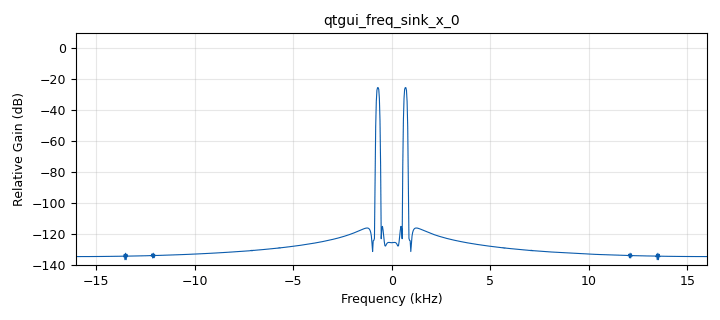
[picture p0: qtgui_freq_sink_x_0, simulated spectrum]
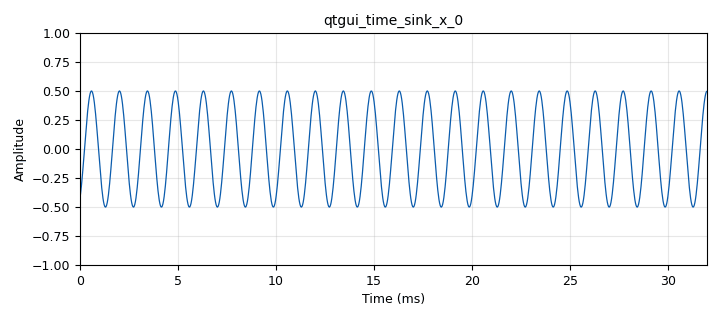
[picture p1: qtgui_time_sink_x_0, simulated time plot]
options:
  parameters:
    generate_options: qt_gui
    id: audio_hp_test
    output_language: python
    title: Not titled yet
  states: {}

blocks:
- name: samp_rate
  id: variable
  parameters:
    value: '32000'
  states: {}
- name: analog_sig_source_x_0
  id: analog_sig_source_x
  parameters:
    amp: '.5'
    freq: '700'
    offset: '0'
    phase: '0'
    samp_rate: samp_rate
    type: float
    waveform: analog.GR_COS_WAVE
  states: {}
- name: audio_sink_0
  id: audio_sink
  parameters:
    samp_rate: samp_rate
  states: {}
- name: qtgui_freq_sink_x_0
  id: qtgui_freq_sink_x
  parameters:
    bw: samp_rate
    ctrlpanel: 'True'
    fc: '0'
    fftsize: '1024'
    type: float
    wintype: window.WIN_FLATTOP
  states: {}
- name: qtgui_time_sink_x_0
  id: qtgui_time_sink_x
  parameters:
    size: '1024'
    srate: samp_rate
    type: float
  states: {}

connections:
- [analog_sig_source_x_0, '0', audio_sink_0, '0']
- [analog_sig_source_x_0, '0', qtgui_freq_sink_x_0, '0']
- [analog_sig_source_x_0, '0', qtgui_time_sink_x_0, '0']

metadata:
  file_format: 1
  grc_version: 3.9.7.0
